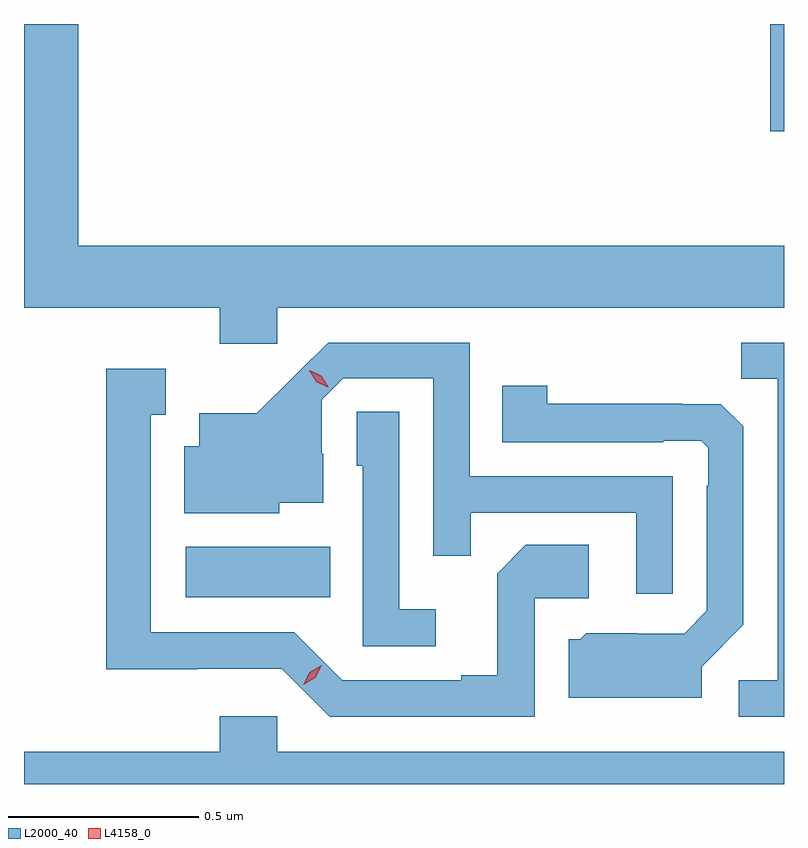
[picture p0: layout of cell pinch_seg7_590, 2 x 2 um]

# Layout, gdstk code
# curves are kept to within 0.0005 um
import gdstk
lib = gdstk.Library(unit=1e-6, precision=1e-09)
def R(c, l, rs):  # rectangles x0, y0, x1, y1
    for r in rs: c.add(gdstk.rectangle(r[:2], r[2:], *l))
def P(c, l, *ps):  # polygons
    for p in ps: c.add(gdstk.Polygon(p, *l))
L2000_40 = (2000, 40)
L4158_0 = (4158, 0)

pinch_seg7_590 = lib.new_cell('pinch_seg7_590')
R(pinch_seg7_590, L2000_40, [(138.486,1043.81,138.866,1043.944), (140.024,1045.037,140.06,1045.319)])
P(pinch_seg7_590, L2000_40, [(138.726,1044.572),(140.06,1044.572),(140.06,1044.736),(138.203,1044.736),(138.203,1045.319),(138.06,1045.319),(138.06,1044.572),(138.575,1044.572),(138.575,1044.477),(138.726,1044.477)],
  [(140.06,1044.48),(139.948,1044.48),(139.948,1044.385),(140.043,1044.385),(140.043,1043.592),(139.941,1043.592),(139.941,1043.496),(140.06,1043.496)],
  [(139.767,1044.129),(139.233,1044.129),(139.233,1044.48),(138.86,1044.48),(138.673,1044.295),(138.521,1044.295),(138.521,1044.208),(138.482,1044.208),(138.482,1044.032),(138.732,1044.032),(138.732,1044.059),(138.847,1044.059),(138.847,1044.188),(138.843,1044.188),(138.843,1044.33),(138.9,1044.387),(139.137,1044.387),(139.137,1043.92),(139.235,1043.92),(139.235,1044.033),(139.671,1044.033),(139.671,1043.82),(139.767,1043.82)],
  [(139.404,1043.808),(139.546,1043.808),(139.546,1043.948),(139.381,1043.948),(139.305,1043.872),(139.305,1043.605),(139.211,1043.605),(139.211,1043.592),(138.897,1043.592),(138.771,1043.718),(138.394,1043.718),(138.394,1044.291),(138.433,1044.291),(138.433,1044.412),(138.276,1044.412),(138.276,1043.621),(138.516,1043.621),(138.516,1043.622),(138.738,1043.622),(138.864,1043.496),(139.404,1043.496)],
  [(139.843,1043.628),(139.953,1043.738),(139.953,1044.26),(139.894,1044.319),(139.793,1044.319),(139.793,1044.32),(139.437,1044.32),(139.437,1044.367),(139.318,1044.367),(139.318,1044.219),(139.742,1044.219),(139.742,1044.222),(139.842,1044.222),(139.86,1044.204),(139.86,1044.104),(139.857,1044.104),(139.857,1043.775),(139.797,1043.715),(139.674,1043.715),(139.674,1043.716),(139.54,1043.716),(139.524,1043.7),(139.493,1043.7),(139.493,1043.546),(139.843,1043.546)],
  [(139.144,1043.779),(139.047,1043.779),(139.047,1044.299),(138.936,1044.299),(138.936,1044.156),(138.951,1044.156),(138.951,1043.682),(139.144,1043.682)],
  [(140.06,1043.404),(138.726,1043.404),(138.726,1043.497),(138.575,1043.497),(138.575,1043.404),(138.06,1043.404),(138.06,1043.319),(140.06,1043.319)])
P(pinch_seg7_590, L4158_0, [(138.859,1044.363),(138.829,1044.378),(138.811,1044.408),(138.811,1044.408),(138.812,1044.408),(138.842,1044.393),(138.86,1044.364),(138.86,1044.363)],
  [(138.795,1043.58),(138.795,1043.58),(138.812,1043.613),(138.844,1043.631),(138.844,1043.631),(138.844,1043.631),(138.827,1043.599),(138.795,1043.58)])

lib.write_gds('pinch_seg7_590.gds')
